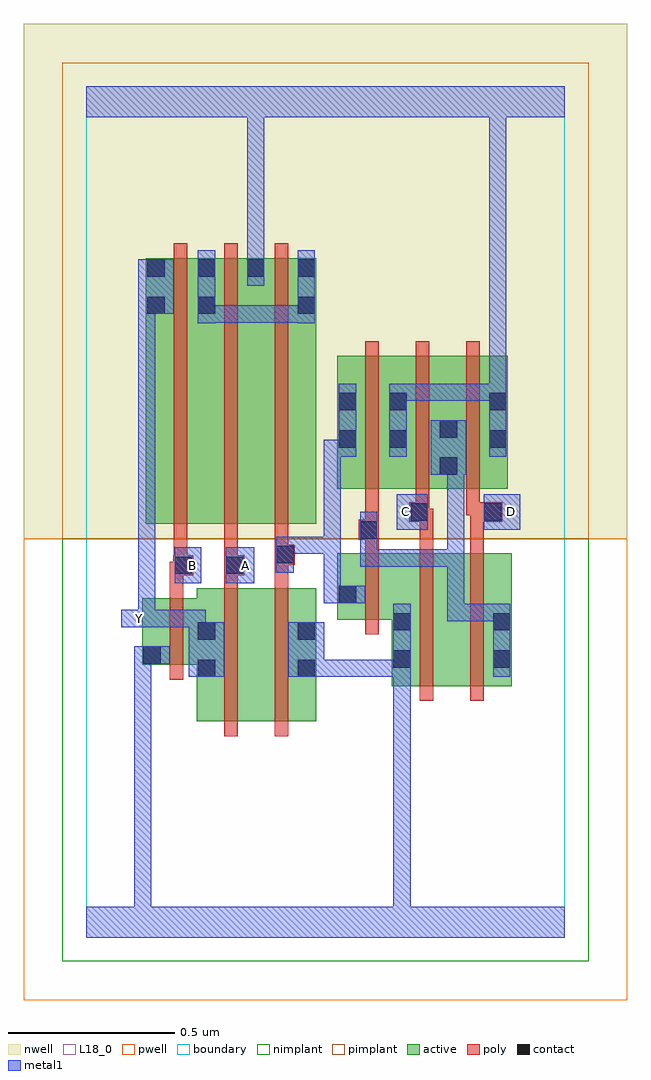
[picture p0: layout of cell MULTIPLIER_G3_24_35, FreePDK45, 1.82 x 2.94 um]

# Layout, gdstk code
import gdstk
lib = gdstk.Library(unit=1e-6, precision=1e-09)
def R(c, l, rs):  # rectangles x0, y0, x1, y1
    for r in rs: c.add(gdstk.rectangle(r[:2], r[2:], *l))
def A(c, l, x, y, w, h, nx, ny, dx, dy):  # array of equal rectangles
    R(c, l, [(x+i*dx, y+j*dy, x+i*dx+w, y+j*dy+h) for i in range(nx) for j in range(ny)])
active = (1, 0)
pwell = (2, 0)
nwell = (3, 0)
nimplant = (4, 0)
pimplant = (5, 0)
poly = (9, 0)
contact = (10, 0)
metal1 = (11, 0)
L18_0 = (18, 0)
boundary = (235, 0)

multiplier_g3_24_35 = lib.new_cell('MULTIPLIER_G3_24_35')
R(multiplier_g3_24_35, active, [(0.332,0.65,0.512,1.05), (0.332,0.65,0.392,0.952), (0.512,0.65,0.692,1.05), (0.632,0.756,0.692,1.05), (0.92,0.756,0.98,1.156), (0.92,0.756,1.1,1.156), (1.1,0.756,1.28,1.156), (1.22,0.756,1.28,1.156), (0.168,0.82,0.392,1.02), (0.168,0.82,0.228,1.02), (0.756,0.956,0.98,1.156), (0.756,0.956,0.816,1.156), (0.18,1.244,0.24,2.044), (0.18,1.244,0.392,2.044), (0.332,1.244,0.54,2.044), (0.48,1.244,0.692,2.044), (0.632,1.244,0.692,2.044), (0.756,1.35,0.816,1.644), (0.756,1.35,0.968,1.75), (0.908,1.35,1.12,1.75), (1.06,1.35,1.12,1.644), (1.06,1.35,1.268,1.75), (1.208,1.35,1.268,1.644), (0.908,1.47,0.968,1.644), (0.332,1.686,0.392,2.044), (0.48,1.686,0.54,2.044)])
R(multiplier_g3_24_35, pwell, [(-0.188,-0.188,1.628,1.2)])
R(multiplier_g3_24_35, nwell, [(-0.188,1.2,1.628,2.748)])
R(multiplier_g3_24_35, nimplant, [(-0.072,-0.072,1.512,1.2)])
R(multiplier_g3_24_35, pimplant, [(-0.072,1.2,1.512,2.632)])
A(multiplier_g3_24_35, poly, 0.264, 1.2, 0.04, 0.888, 3, 1, 0.152, 0)
A(multiplier_g3_24_35, poly, 0.84, 1.306, 0.04, 0.488, 3, 1, 0.152, 0)
R(multiplier_g3_24_35, poly, [(0.416,0.606,0.456,1.094), (0.568,0.606,0.608,1.094), (1.004,0.712,1.044,1.2), (1.156,0.712,1.196,1.2), (0.252,0.776,0.292,1.064), (0.84,0.912,0.88,1.2), (0.252,1.024,0.292,1.13), (0.416,1.054,0.456,1.13), (0.568,1.054,0.608,1.162), (0.252,1.09,0.302,1.13), (0.262,1.09,0.302,1.13), (0.262,1.09,0.322,1.15), (0.416,1.09,0.476,1.15), (0.264,1.11,0.304,1.24), (0.416,1.11,0.456,1.15), (0.416,1.11,0.456,1.15), (0.416,1.11,0.456,1.24), (0.568,1.122,0.628,1.182), (0.568,1.142,0.608,1.182), (0.568,1.142,0.608,1.182), (0.568,1.142,0.608,1.24), (0.84,1.16,0.88,1.236), (1.004,1.16,1.044,1.29), (1.156,1.16,1.196,1.29), (0.82,1.196,0.88,1.256), (0.84,1.216,0.88,1.256), (0.84,1.216,0.88,1.256), (0.84,1.216,0.88,1.346), (0.972,1.25,1.032,1.31), (0.992,1.25,1.032,1.29), (0.992,1.25,1.044,1.29), (1.156,1.25,1.252,1.31), (0.992,1.27,1.032,1.346), (1.144,1.27,1.184,1.346), (1.144,1.27,1.196,1.31), (1.156,1.27,1.196,1.31)])
R(multiplier_g3_24_35, contact, [(0.336,0.784,0.388,0.836), (0.636,0.784,0.688,0.836), (0.924,0.812,0.976,0.864), (1.224,0.812,1.276,0.864), (0.172,0.824,0.224,0.876), (0.336,0.896,0.388,0.948), (0.636,0.896,0.688,0.948), (0.924,0.924,0.976,0.976), (1.224,0.924,1.276,0.976), (0.76,1.006,0.812,1.058), (0.266,1.094,0.318,1.146), (0.42,1.094,0.472,1.146), (0.572,1.126,0.624,1.178), (0.824,1.2,0.876,1.252), (0.976,1.254,1.028,1.306), (1.196,1.254,1.248,1.306), (1.064,1.392,1.116,1.444), (0.76,1.474,0.812,1.526), (0.912,1.474,0.964,1.526), (1.212,1.474,1.264,1.526), (1.064,1.504,1.116,1.556), (0.76,1.586,0.812,1.638), (0.912,1.586,0.964,1.638), (1.212,1.586,1.264,1.638), (0.184,1.876,0.236,1.928), (0.336,1.876,0.388,1.928), (0.636,1.876,0.688,1.928), (0.184,1.988,0.236,2.04), (0.336,1.988,0.388,2.04), (0.484,1.988,0.536,2.04), (0.636,1.988,0.688,2.04)])
R(multiplier_g3_24_35, metal1, [(0,0,1.44,0.092), (0.144,0.04,0.196,0.092), (0.144,0.04,0.196,0.092), (0.144,0.04,0.196,0.092), (0.144,0.04,0.196,0.092), (0.144,0.04,0.196,0.876), (0.924,0.04,0.976,0.092), (0.924,0.04,0.976,0.092), (0.924,0.04,0.976,0.092), (0.924,0.04,0.976,0.092), (0.924,0.04,0.976,0.092), (0.924,0.04,0.976,0.092), (0.924,0.04,0.976,0.092), (0.924,0.04,0.976,0.092), (0.924,0.04,0.976,0.092), (0.924,0.04,0.976,0.092), (0.924,0.04,0.976,0.092), (0.924,0.04,0.976,0.092), (0.924,0.04,0.976,0.836), (0.308,0.784,0.416,0.948), (0.608,0.784,0.716,0.948), (0.664,0.784,0.734,0.836), (0.682,0.784,0.734,0.836), (0.682,0.784,0.826,0.836), (0.774,0.784,0.826,0.836), (0.774,0.784,0.976,0.836), (0.924,0.784,0.976,1.004), (1.224,0.784,1.276,1.004), (0.144,0.824,0.196,0.876), (0.144,0.824,0.196,0.876), (0.144,0.824,0.196,0.876), (0.144,0.824,0.196,0.876), (0.144,0.824,0.196,0.876), (0.144,0.824,0.196,0.876), (0.144,0.824,0.196,0.876), (0.144,0.824,0.196,0.876), (0.144,0.824,0.196,0.876), (0.144,0.824,0.196,0.876), (0.144,0.824,0.196,0.876), (0.144,0.824,0.196,0.876), (0.144,0.824,0.252,0.876), (0.308,0.896,0.36,0.986), (0.106,0.934,0.214,0.986), (0.156,0.934,0.208,0.986), (0.156,0.934,0.208,0.986), (0.156,0.934,0.208,1.928), (0.162,0.934,0.214,0.986), (0.162,0.934,0.214,0.986), (0.162,0.934,0.36,0.986), (0.308,0.934,0.36,0.986), (1.086,0.952,1.138,1.004), (1.086,0.952,1.276,1.004), (1.086,0.952,1.138,1.168), (1.224,0.952,1.276,1.004), (1.224,0.952,1.276,1.004), (0.714,1.006,0.766,1.206), (0.714,1.006,0.84,1.058), (0.266,1.066,0.346,1.174), (0.42,1.066,0.506,1.174), (0.572,1.098,0.624,1.206), (0.824,1.116,1.138,1.168), (0.824,1.116,0.876,1.224), (1.086,1.116,1.138,1.168), (1.086,1.116,1.138,1.168), (1.086,1.116,1.138,1.168), (1.086,1.116,1.138,1.444), (0.572,1.154,0.624,1.206), (0.572,1.154,0.624,1.206), (0.572,1.154,0.766,1.206), (0.714,1.154,0.766,1.206), (0.714,1.154,0.766,1.498), (0.824,1.172,0.876,1.224), (0.824,1.172,0.876,1.28), (0.934,1.226,1.028,1.334), (1.196,1.226,1.306,1.334), (1.036,1.392,1.144,1.556), (1.086,1.392,1.138,1.444), (1.086,1.392,1.138,1.444), (0.714,1.446,0.812,1.498), (0.76,1.446,0.812,1.498), (0.76,1.446,0.812,1.666), (0.912,1.446,0.964,1.666), (1.212,1.446,1.264,1.666), (0.912,1.614,1.138,1.666), (1.086,1.614,1.138,1.666), (1.086,1.614,1.138,1.666), (1.086,1.614,1.138,1.666), (1.086,1.614,1.264,1.666), (1.212,1.614,1.264,1.666), (1.212,1.614,1.264,1.666), (1.212,1.614,1.264,1.666), (1.212,1.614,1.264,1.666), (1.212,1.614,1.264,1.666), (1.212,1.614,1.264,1.666), (1.212,1.614,1.264,1.666), (1.212,1.614,1.264,1.666), (1.212,1.614,1.264,1.666), (1.212,1.614,1.264,1.666), (1.212,1.614,1.264,2.52), (0.336,1.848,0.388,2.068), (0.636,1.848,0.688,2.068), (0.336,1.85,0.388,1.902), (0.336,1.85,0.388,1.902), (0.336,1.85,0.498,1.902), (0.446,1.85,0.498,1.902), (0.446,1.85,0.498,1.902), (0.446,1.85,0.498,1.902), (0.446,1.85,0.688,1.902), (0.156,1.876,0.264,2.04), (0.484,1.96,0.536,2.068), (0.484,2.016,0.536,2.52), (0,2.468,1.44,2.56), (0.484,2.468,0.536,2.52), (0.484,2.468,0.536,2.52), (0.484,2.468,0.536,2.52), (0.484,2.468,0.536,2.52), (0.484,2.468,0.536,2.52), (0.484,2.468,0.536,2.52), (0.484,2.468,0.536,2.52), (0.484,2.468,0.536,2.52), (1.212,2.468,1.264,2.52), (1.212,2.468,1.264,2.52), (1.212,2.468,1.264,2.52), (1.212,2.468,1.264,2.52), (1.212,2.468,1.264,2.52), (1.212,2.468,1.264,2.52), (1.212,2.468,1.264,2.52), (1.212,2.468,1.264,2.52)])
R(multiplier_g3_24_35, L18_0, [(0,0,1.44,0.092), (0.144,0.04,0.196,0.092), (0.144,0.04,0.196,0.092), (0.144,0.04,0.196,0.092), (0.144,0.04,0.196,0.092), (0.144,0.04,0.196,0.876), (0.924,0.04,0.976,0.092), (0.924,0.04,0.976,0.092), (0.924,0.04,0.976,0.092), (0.924,0.04,0.976,0.092), (0.924,0.04,0.976,0.092), (0.924,0.04,0.976,0.092), (0.924,0.04,0.976,0.092), (0.924,0.04,0.976,0.092), (0.924,0.04,0.976,0.092), (0.924,0.04,0.976,0.092), (0.924,0.04,0.976,0.092), (0.924,0.04,0.976,0.092), (0.924,0.04,0.976,0.836), (0.308,0.784,0.416,0.948), (0.608,0.784,0.716,0.948), (0.664,0.784,0.734,0.836), (0.682,0.784,0.734,0.836), (0.682,0.784,0.826,0.836), (0.774,0.784,0.826,0.836), (0.774,0.784,0.976,0.836), (0.924,0.784,0.976,1.004), (0.144,0.824,0.196,0.876), (0.144,0.824,0.196,0.876), (0.144,0.824,0.196,0.876), (0.144,0.824,0.196,0.876), (0.144,0.824,0.196,0.876), (0.144,0.824,0.196,0.876), (0.144,0.824,0.196,0.876), (0.144,0.824,0.196,0.876), (0.144,0.824,0.196,0.876), (0.144,0.824,0.196,0.876), (0.144,0.824,0.196,0.876), (0.144,0.824,0.196,0.876), (0.144,0.824,0.252,0.876), (0.308,0.896,0.36,0.986), (0.106,0.934,0.214,0.986), (0.134,0.934,0.186,0.986), (0.156,0.934,0.208,0.986), (0.156,0.934,0.208,0.986), (0.156,0.934,0.208,1.928), (0.162,0.934,0.214,0.986), (0.162,0.934,0.214,0.986), (0.162,0.934,0.36,0.986), (0.308,0.934,0.36,0.986), (0.266,1.066,0.346,1.174), (0.42,1.066,0.506,1.174), (0.294,1.094,0.346,1.146), (0.454,1.094,0.506,1.146), (0.934,1.226,1.028,1.334), (1.196,1.226,1.306,1.334), (0.934,1.254,0.986,1.306), (1.254,1.254,1.306,1.306), (0.912,1.446,0.964,1.666), (1.212,1.446,1.264,1.666), (0.912,1.614,1.138,1.666), (1.086,1.614,1.138,1.666), (1.086,1.614,1.138,1.666), (1.086,1.614,1.138,1.666), (1.086,1.614,1.264,1.666), (1.212,1.614,1.264,1.666), (1.212,1.614,1.264,1.666), (1.212,1.614,1.264,1.666), (1.212,1.614,1.264,1.666), (1.212,1.614,1.264,1.666), (1.212,1.614,1.264,1.666), (1.212,1.614,1.264,1.666), (1.212,1.614,1.264,1.666), (1.212,1.614,1.264,1.666), (1.212,1.614,1.264,1.666), (1.212,1.614,1.264,2.52), (0.156,1.876,0.264,2.04), (0.484,1.96,0.536,2.068), (0.484,2.016,0.536,2.52), (0,2.468,1.44,2.56), (0.484,2.468,0.536,2.52), (0.484,2.468,0.536,2.52), (0.484,2.468,0.536,2.52), (0.484,2.468,0.536,2.52), (0.484,2.468,0.536,2.52), (0.484,2.468,0.536,2.52), (0.484,2.468,0.536,2.52), (0.484,2.468,0.536,2.52), (1.212,2.468,1.264,2.52), (1.212,2.468,1.264,2.52), (1.212,2.468,1.264,2.52), (1.212,2.468,1.264,2.52), (1.212,2.468,1.264,2.52), (1.212,2.468,1.264,2.52), (1.212,2.468,1.264,2.52), (1.212,2.468,1.264,2.52)])
R(multiplier_g3_24_35, boundary, [(0,0,1.44,2.56)])
multiplier_g3_24_35.add(gdstk.Label('A', (0.48,1.12), layer=11, texttype=0))
multiplier_g3_24_35.add(gdstk.Label('B', (0.32,1.12), layer=11, texttype=0))
multiplier_g3_24_35.add(gdstk.Label('C', (0.96,1.28), layer=11, texttype=0))
multiplier_g3_24_35.add(gdstk.Label('D', (1.28,1.28), layer=11, texttype=0))
multiplier_g3_24_35.add(gdstk.Label('Y', (0.16,0.96), layer=11, texttype=0))

lib.write_gds('MULTIPLIER_G3_24_35.gds')
